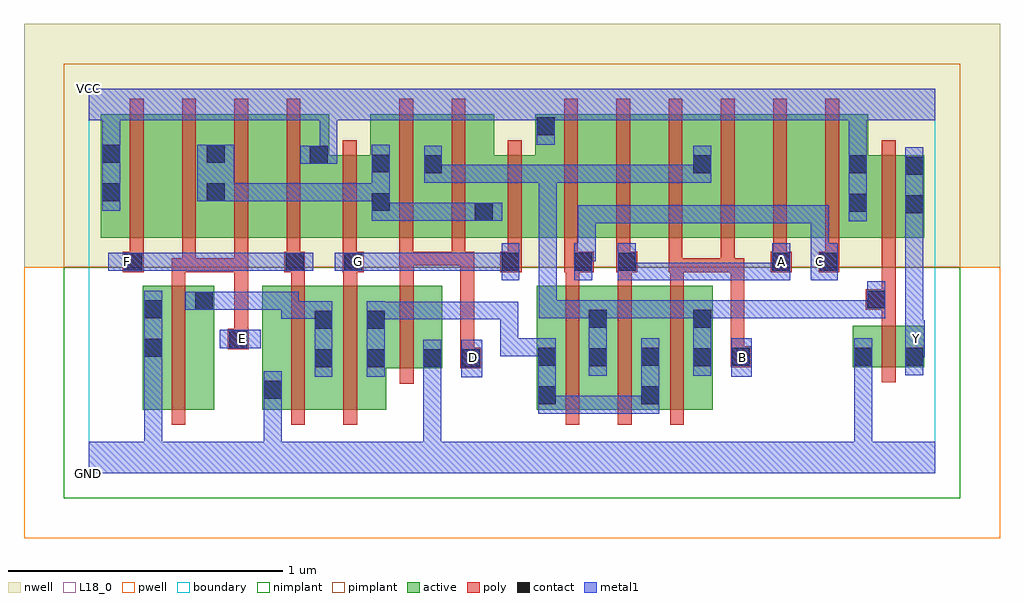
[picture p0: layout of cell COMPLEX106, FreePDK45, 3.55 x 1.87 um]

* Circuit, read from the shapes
.subckt COMPLEX106 A B C D E F G GND VCC Y
M1 n1 E GND VSUBS nfet w=0.45u l=0.05u
M2 n1 F GND VSUBS nfet w=0.45u l=0.05u
M3 n2 G n1 VSUBS nfet w=0.45u l=0.05u
M4 GND D n2 VSUBS nfet w=0.3u l=0.05u
M5 n3 C n2 VSUBS nfet w=0.45u l=0.05u
M6 n2 A n3 VSUBS nfet w=0.45u l=0.05u
M7 n3 B n2 VSUBS nfet w=0.45u l=0.05u
M8 Y n3 GND VSUBS nfet w=0.15u l=0.05u
M9 n4 F VCC n5 pfet w=0.45u l=0.05u
M10 n6 E n4 n5 pfet w=0.45u l=0.05u
M11 n7 E n6 n5 pfet w=0.45u l=0.05u
M12 VCC F n7 n5 pfet w=0.45u l=0.05u
M13 n6 G VCC n5 pfet w=0.3u l=0.05u m=2
M14 n3 D n6 n5 pfet w=0.45u l=0.05u m=2
M15 n8 C VCC n5 pfet w=0.45u l=0.05u
M16 n9 A n8 n5 pfet w=0.45u l=0.05u
M17 n3 B n9 n5 pfet w=0.45u l=0.05u
M18 n10 B n3 n5 pfet w=0.45u l=0.05u
M19 n11 A n10 n5 pfet w=0.45u l=0.05u
M20 VCC C n11 n5 pfet w=0.45u l=0.05u
M21 Y n3 VCC n5 pfet w=0.3u l=0.05u
.ends

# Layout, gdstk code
import gdstk
lib = gdstk.Library(unit=1e-6, precision=1e-09)
def R(c, l, rs):  # rectangles x0, y0, x1, y1
    for r in rs: c.add(gdstk.rectangle(r[:2], r[2:], *l))
def A(c, l, x, y, w, h, nx, ny, dx, dy):  # array of equal rectangles
    R(c, l, [(x+i*dx, y+j*dy, x+i*dx+w, y+j*dy+h) for i in range(nx) for j in range(ny)])
active = (1, 0)
pwell = (2, 0)
nwell = (3, 0)
nimplant = (4, 0)
pimplant = (5, 0)
poly = (9, 0)
contact = (10, 0)
metal1 = (11, 0)
L18_0 = (18, 0)
boundary = (235, 0)

complex106 = lib.new_cell('COMPLEX106')
R(complex106, active, [(0.197,0.232,0.457,0.682), (0.632,0.232,0.707,0.682), (0.632,0.232,0.892,0.682), (0.817,0.232,1.082,0.682), (1.007,0.232,1.082,0.597), (1.63,0.232,1.705,0.682), (1.63,0.232,1.89,0.682), (1.815,0.232,2.08,0.682), (2.005,0.232,2.27,0.682), (2.005,0.232,2.08,0.542), (2.195,0.232,2.27,0.682), (0.197,0.245,0.272,0.682), (0.382,0.245,0.457,0.682), (0.817,0.245,0.892,0.635), (1.815,0.245,1.89,0.6), (1.007,0.382,1.287,0.682), (1.212,0.382,1.287,0.457), (2.78,0.387,2.855,0.537), (2.78,0.387,3.04,0.537), (2.965,0.387,3.04,0.537), (0.045,0.857,0.12,1.307), (0.045,0.857,0.27,1.307), (0.27,0.857,0.5,1.307), (0.425,0.857,0.65,1.307), (0.425,0.857,0.5,1.2), (0.65,0.857,0.875,1.307), (0.8,0.857,1.1,1.157), (1.025,0.857,1.29,1.307), (1.215,0.857,1.475,1.307), (1.215,0.857,1.29,1.2), (1.4,0.857,1.7,1.157), (1.625,0.857,1.85,1.307), (1.85,0.857,2.04,1.307), (2.04,0.857,2.27,1.307), (2.195,0.857,2.42,1.307), (2.195,0.857,2.27,1.2), (2.42,0.857,2.61,1.307), (2.61,0.857,2.835,1.307), (2.76,0.857,2.835,1.307), (2.76,0.857,3.04,1.157), (2.965,0.857,3.04,1.157), (1.4,0.915,1.475,1.07), (1.025,0.95,1.1,1.2), (1.625,0.995,1.7,1.3), (0.8,1.007,0.875,1.307)])
R(complex106, pwell, [(-0.235,-0.235,3.315,0.75)])
R(complex106, nwell, [(-0.235,0.75,3.315,1.635)])
R(complex106, nimplant, [(-0.09,-0.09,3.17,0.75)])
R(complex106, pimplant, [(-0.09,0.75,3.17,1.49)])
A(complex106, poly, 1.735, 0.177, 0.05, 0.56, 3, 1, 0.19, 0)
A(complex106, poly, 1.735, 0.687, 0.05, 0.095, 3, 1, 0.19, 0)
A(complex106, poly, 0.72, 0.757, 0.05, 0.095, 3, 1, 0.205, 0)
A(complex106, poly, 1.32, 0.757, 0.05, 0.095, 3, 1, 0.205, 0)
A(complex106, poly, 0.15, 0.802, 0.05, 0.56, 4, 1, 0.19, 0)
A(complex106, poly, 1.73, 0.802, 0.05, 0.56, 6, 1, 0.19, 0)
R(complex106, poly, [(0.302,0.177,0.352,0.737), (0.737,0.177,0.787,0.737), (0.927,0.177,0.977,0.737), (1.132,0.327,1.182,0.737), (2.885,0.332,2.935,0.592), (1.352,0.382,1.427,0.457), (2.335,0.387,2.41,0.462), (1.352,0.407,1.402,0.457), (1.352,0.407,1.402,0.457), (1.352,0.407,1.402,0.807), (2.335,0.412,2.385,0.782), (0.507,0.452,0.582,0.527), (0.53,0.477,0.58,0.527), (0.53,0.477,0.58,0.527), (0.53,0.477,0.58,0.782), (2.885,0.542,2.935,0.645), (2.827,0.595,2.935,0.67), (2.885,0.62,2.935,0.852), (0.302,0.687,0.352,0.782), (0.737,0.687,0.787,0.782), (0.927,0.687,0.977,0.782), (1.132,0.687,1.182,0.807), (0.125,0.732,0.2,0.807), (0.302,0.732,0.39,0.782), (0.34,0.732,0.39,0.852), (0.34,0.732,0.39,0.782), (0.34,0.732,0.39,0.782), (0.34,0.732,0.58,0.782), (0.53,0.732,0.58,0.852), (0.53,0.732,0.58,0.782), (0.712,0.732,0.787,0.807), (0.925,0.732,1,0.807), (1.497,0.732,1.575,0.807), (1.73,0.732,1.837,0.807), (1.92,0.732,1.995,0.807), (2.11,0.732,2.16,0.852), (2.11,0.732,2.165,0.782), (2.115,0.732,2.165,0.782), (2.115,0.732,2.165,0.782), (2.115,0.732,2.35,0.782), (2.3,0.732,2.35,0.852), (2.3,0.732,2.35,0.782), (2.3,0.732,2.35,0.782), (2.3,0.732,2.385,0.782), (2.482,0.732,2.557,0.807), (2.655,0.732,2.73,0.807), (0.15,0.757,0.2,0.852), (1.13,0.757,1.182,0.807), (1.132,0.757,1.37,0.807), (1.32,0.757,1.37,0.807), (1.32,0.757,1.37,0.807), (1.32,0.757,1.402,0.807), (1.92,0.757,1.97,0.852), (2.49,0.757,2.54,0.852), (2.68,0.757,2.73,0.852), (0.925,0.802,0.975,1.212), (1.13,0.802,1.18,1.362), (1.32,0.802,1.37,1.362), (1.525,0.802,1.575,1.212), (2.885,0.802,2.935,1.212)])
R(complex106, contact, [(1.635,0.252,1.7,0.317), (2.01,0.252,2.075,0.317), (0.637,0.272,0.702,0.337), (0.822,0.387,0.887,0.452), (1.012,0.387,1.077,0.452), (1.217,0.387,1.282,0.452), (1.357,0.387,1.422,0.452), (1.82,0.39,1.885,0.455), (2.2,0.39,2.265,0.455), (1.635,0.392,1.7,0.457), (2.01,0.392,2.075,0.457), (2.34,0.392,2.405,0.457), (2.785,0.392,2.85,0.457), (2.97,0.392,3.035,0.457), (0.202,0.425,0.267,0.49), (0.512,0.457,0.577,0.522), (0.822,0.527,0.887,0.592), (1.012,0.527,1.077,0.592), (1.82,0.53,1.885,0.595), (2.2,0.53,2.265,0.595), (0.202,0.565,0.267,0.63), (0.387,0.595,0.452,0.66), (2.832,0.6,2.897,0.665), (0.13,0.737,0.195,0.802), (0.717,0.737,0.782,0.802), (0.93,0.737,0.995,0.802), (1.502,0.737,1.567,0.802), (1.767,0.737,1.832,0.802), (1.925,0.737,1.99,0.802), (2.487,0.737,2.552,0.802), (2.66,0.737,2.725,0.802), (1.405,0.92,1.47,0.985), (2.97,0.947,3.035,1.012), (2.765,0.952,2.83,1.017), (1.03,0.955,1.095,1.02), (0.05,0.99,0.115,1.055), (0.43,0.99,0.495,1.055), (2.97,1.087,3.035,1.152), (1.22,1.092,1.285,1.157), (2.2,1.092,2.265,1.157), (2.765,1.092,2.83,1.157), (1.03,1.095,1.095,1.16), (0.805,1.127,0.87,1.192), (0.05,1.13,0.115,1.195), (0.43,1.13,0.495,1.195), (1.63,1.23,1.695,1.295)])
R(complex106, metal1, [(0,0,3.08,0.115), (0.202,0.05,0.267,0.115), (0.202,0.05,0.267,0.115), (0.202,0.05,0.267,0.455), (0.637,0.05,0.702,0.115), (0.637,0.05,0.702,0.115), (0.637,0.05,0.702,0.302), (1.217,0.05,1.282,0.115), (1.217,0.05,1.282,0.115), (1.217,0.05,1.282,0.115), (1.217,0.05,1.282,0.115), (1.217,0.05,1.282,0.417), (2.785,0.05,2.85,0.115), (2.785,0.05,2.85,0.115), (2.785,0.05,2.85,0.115), (2.785,0.05,2.85,0.115), (2.785,0.05,2.85,0.115), (2.785,0.05,2.85,0.115), (2.785,0.05,2.85,0.422), (1.635,0.217,1.7,0.492), (1.635,0.217,1.707,0.282), (1.642,0.217,1.707,0.282), (1.642,0.217,1.937,0.282), (1.872,0.217,1.937,0.282), (1.872,0.217,1.99,0.282), (1.925,0.217,1.99,0.282), (1.925,0.217,2.075,0.282), (2.01,0.217,2.075,0.492), (0.637,0.237,0.702,0.372), (1.355,0.35,1.432,0.487), (0.822,0.352,0.887,0.627), (1.012,0.352,1.077,0.627), (1.217,0.352,1.282,0.487), (2.337,0.352,2.412,0.492), (1.82,0.355,1.885,0.63), (2.2,0.355,2.265,0.63), (2.785,0.357,2.85,0.492), (2.97,0.357,3.035,0.492), (0.202,0.39,0.267,0.665), (2.97,0.422,3.035,0.487), (2.97,0.422,3.042,0.557), (1.497,0.427,1.562,0.492), (1.497,0.427,1.57,0.492), (1.497,0.427,1.562,0.625), (1.505,0.427,1.57,0.492), (1.505,0.427,1.7,0.492), (0.477,0.455,0.627,0.522), (2.97,0.492,3.035,0.977), (1.012,0.56,1.282,0.625), (1.217,0.56,1.282,0.625), (1.217,0.56,1.282,0.625), (1.217,0.56,1.282,0.625), (1.217,0.56,1.43,0.625), (1.365,0.56,1.43,0.625), (1.365,0.56,1.562,0.625), (1.497,0.56,1.562,0.625), (0.7,0.562,0.887,0.627), (0.7,0.562,0.765,0.66), (1.637,0.565,1.707,0.63), (1.637,0.565,1.702,1.122), (1.642,0.565,1.707,0.63), (1.642,0.565,1.707,0.63), (1.642,0.565,1.885,0.63), (1.82,0.565,1.982,0.63), (1.917,0.565,1.982,0.63), (1.917,0.565,2.127,0.63), (2.062,0.565,2.127,0.63), (2.062,0.565,2.127,0.63), (2.062,0.565,2.127,0.63), (2.062,0.565,2.265,0.63), (2.2,0.565,2.265,0.63), (2.2,0.565,2.265,0.63), (2.2,0.565,2.552,0.63), (2.487,0.565,2.552,0.63), (2.487,0.565,2.552,0.63), (2.487,0.565,2.552,0.63), (2.487,0.565,2.69,0.63), (2.625,0.565,2.69,0.63), (2.625,0.565,2.69,0.63), (2.625,0.565,2.69,0.63), (2.625,0.565,2.897,0.63), (2.832,0.565,2.897,0.63), (2.832,0.565,2.897,0.63), (2.832,0.565,2.897,0.63), (2.832,0.565,2.897,0.63), (2.832,0.565,2.897,0.7), (0.352,0.595,0.487,0.66), (0.422,0.595,0.56,0.66), (0.495,0.595,0.56,0.66), (0.495,0.595,0.697,0.66), (0.632,0.595,0.697,0.66), (0.632,0.595,0.765,0.66), (1.502,0.702,1.567,0.837), (1.767,0.702,1.832,0.837), (1.925,0.702,1.99,0.837), (1.925,0.702,2.127,0.767), (2.062,0.702,2.127,0.767), (2.062,0.702,2.127,0.767), (2.062,0.702,2.127,0.767), (2.062,0.702,2.415,0.767), (2.35,0.702,2.415,0.767), (2.35,0.702,2.415,0.767), (2.35,0.702,2.415,0.767), (2.35,0.702,2.552,0.767), (2.487,0.702,2.552,0.767), (2.487,0.702,2.552,0.767), (2.487,0.702,2.552,0.837), (2.627,0.702,2.725,0.837), (0.072,0.737,0.23,0.802), (0.165,0.737,0.23,0.802), (0.165,0.737,0.23,0.802), (0.165,0.737,0.367,0.802), (0.302,0.737,0.367,0.802), (0.302,0.737,0.505,0.802), (0.44,0.737,0.505,0.802), (0.44,0.737,0.505,0.802), (0.44,0.737,0.505,0.802), (0.44,0.737,0.697,0.802), (0.632,0.737,0.697,0.802), (0.632,0.737,0.747,0.802), (0.682,0.737,0.817,0.802), (0.895,0.737,1.047,0.802), (0.982,0.737,1.047,0.802), (0.982,0.737,1.047,0.802), (0.982,0.737,1.185,0.802), (1.12,0.737,1.185,0.802), (1.12,0.737,1.232,0.802), (1.167,0.737,1.232,0.802), (1.167,0.737,1.425,0.802), (1.36,0.737,1.425,0.802), (1.36,0.737,1.557,0.802), (1.492,0.737,1.557,0.802), (1.492,0.737,1.567,0.802), (1.767,0.772,1.845,0.837), (1.78,0.772,1.845,0.837), (1.78,0.772,1.845,0.975), (2.627,0.772,2.692,0.837), (2.627,0.772,2.692,0.837), (2.627,0.772,2.692,0.975), (1.78,0.91,1.845,0.975), (1.78,0.91,1.99,0.975), (1.925,0.91,1.99,0.975), (1.925,0.91,2.097,0.975), (2.032,0.91,2.097,0.975), (2.032,0.91,2.127,0.975), (2.062,0.91,2.127,0.975), (2.062,0.91,2.415,0.975), (2.35,0.91,2.415,0.975), (2.35,0.91,2.415,0.975), (2.35,0.91,2.415,0.975), (2.35,0.91,2.552,0.975), (2.487,0.91,2.552,0.975), (2.487,0.91,2.552,0.975), (2.487,0.91,2.552,0.975), (2.487,0.91,2.692,0.975), (2.627,0.91,2.692,0.975), (2.97,0.912,3.035,1.187), (2.765,0.917,2.83,1.192), (1.03,0.92,1.095,1.195), (1.03,0.92,1.232,0.985), (1.167,0.92,1.232,0.985), (1.167,0.92,1.232,0.985), (1.167,0.92,1.232,0.985), (1.167,0.92,1.43,0.985), (1.365,0.92,1.43,0.985), (1.365,0.92,1.435,0.985), (1.37,0.92,1.505,0.985), (0.05,0.955,0.115,1.23), (0.395,0.99,0.53,1.195), (0.465,0.99,0.53,1.055), (0.465,0.99,0.53,1.055), (0.465,0.99,0.697,1.055), (0.632,0.99,0.697,1.055), (0.632,0.99,0.697,1.055), (0.632,0.99,0.697,1.055), (0.632,0.99,0.902,1.055), (0.837,0.99,0.902,1.055), (0.837,0.99,0.902,1.055), (0.837,0.99,0.902,1.055), (0.837,0.99,1.095,1.055), (1.22,1.057,1.285,1.192), (1.22,1.057,1.422,1.122), (1.357,1.057,1.422,1.122), (1.357,1.057,1.422,1.122), (1.357,1.057,1.422,1.122), (1.357,1.057,1.57,1.122), (1.505,1.057,1.57,1.122), (1.505,1.057,1.702,1.122), (1.637,1.057,1.702,1.122), (1.637,1.057,1.702,1.122), (1.637,1.057,1.702,1.122), (1.637,1.057,1.702,1.122), (1.637,1.057,1.707,1.122), (1.642,1.057,1.707,1.122), (1.642,1.057,1.707,1.122), (1.642,1.057,1.845,1.122), (1.78,1.057,1.845,1.122), (1.78,1.057,1.982,1.122), (1.917,1.057,1.982,1.122), (1.917,1.057,2.127,1.122), (2.062,1.057,2.127,1.122), (2.062,1.057,2.127,1.122), (2.062,1.057,2.127,1.122), (2.062,1.057,2.265,1.122), (2.2,1.057,2.265,1.192), (0.77,1.127,0.905,1.192), (0.84,1.127,0.905,1.35), (2.765,1.127,2.83,1.35), (0.05,1.165,0.115,1.35), (1.63,1.195,1.695,1.33), (1.63,1.265,1.695,1.35), (0,1.285,3.08,1.4)])
R(complex106, L18_0, [(0,0,3.08,0.115), (0.202,0.05,0.267,0.115), (0.202,0.05,0.267,0.115), (0.202,0.05,0.267,0.455), (0.637,0.05,0.702,0.115), (0.637,0.05,0.702,0.115), (0.637,0.05,0.702,0.302), (1.217,0.05,1.282,0.115), (1.217,0.05,1.282,0.115), (1.217,0.05,1.282,0.115), (1.217,0.05,1.282,0.115), (1.217,0.05,1.282,0.417), (2.785,0.05,2.85,0.115), (2.785,0.05,2.85,0.115), (2.785,0.05,2.85,0.115), (2.785,0.05,2.85,0.115), (2.785,0.05,2.85,0.115), (2.785,0.05,2.85,0.115), (2.785,0.05,2.85,0.422), (0.637,0.237,0.702,0.372), (1.355,0.35,1.432,0.487), (1.217,0.352,1.282,0.487), (2.337,0.352,2.412,0.492), (2.785,0.357,2.85,0.492), (2.97,0.357,3.035,0.492), (1.367,0.387,1.432,0.452), (2.347,0.387,2.412,0.452), (0.202,0.39,0.267,0.665), (2.97,0.422,3.035,0.487), (2.97,0.422,3.042,0.557), (0.477,0.455,0.627,0.522), (0.527,0.457,0.592,0.522), (2.977,0.457,3.042,0.522), (2.97,0.492,3.035,0.977), (1.502,0.702,1.567,0.837), (1.767,0.702,1.832,0.837), (1.925,0.702,2.127,0.767), (1.925,0.702,1.99,0.837), (2.062,0.702,2.127,0.767), (2.062,0.702,2.127,0.767), (2.062,0.702,2.127,0.767), (2.062,0.702,2.415,0.767), (2.35,0.702,2.415,0.767), (2.35,0.702,2.415,0.767), (2.35,0.702,2.415,0.767), (2.35,0.702,2.552,0.767), (2.487,0.702,2.552,0.767), (2.487,0.702,2.552,0.767), (2.487,0.702,2.552,0.837), (2.627,0.702,2.725,0.837), (0.072,0.737,0.23,0.802), (0.107,0.737,0.172,0.802), (0.165,0.737,0.23,0.802), (0.165,0.737,0.23,0.802), (0.165,0.737,0.367,0.802), (0.302,0.737,0.367,0.802), (0.302,0.737,0.505,0.802), (0.44,0.737,0.505,0.802), (0.44,0.737,0.505,0.802), (0.44,0.737,0.505,0.802), (0.44,0.737,0.697,0.802), (0.632,0.737,0.697,0.802), (0.632,0.737,0.747,0.802), (0.682,0.737,0.817,0.802), (0.895,0.737,1.047,0.802), (0.947,0.737,1.012,0.802), (0.982,0.737,1.047,0.802), (0.982,0.737,1.047,0.802), (0.982,0.737,1.185,0.802), (1.12,0.737,1.185,0.802), (1.12,0.737,1.232,0.802), (1.167,0.737,1.232,0.802), (1.167,0.737,1.425,0.802), (1.36,0.737,1.425,0.802), (1.36,0.737,1.557,0.802), (1.492,0.737,1.557,0.802), (1.492,0.737,1.567,0.802), (2.487,0.737,2.552,0.802), (2.627,0.737,2.692,0.802), (1.767,0.772,1.845,0.837), (1.78,0.772,1.845,0.837), (1.78,0.772,1.845,0.975), (2.627,0.772,2.692,0.837), (2.627,0.772,2.692,0.837), (2.627,0.772,2.692,0.975), (1.78,0.91,1.845,0.975), (1.78,0.91,1.99,0.975), (1.925,0.91,1.99,0.975), (1.925,0.91,2.097,0.975), (2.032,0.91,2.097,0.975), (2.032,0.91,2.127,0.975), (2.062,0.91,2.127,0.975), (2.062,0.91,2.415,0.975), (2.35,0.91,2.415,0.975), (2.35,0.91,2.415,0.975), (2.35,0.91,2.415,0.975), (2.35,0.91,2.552,0.975), (2.487,0.91,2.552,0.975), (2.487,0.91,2.552,0.975), (2.487,0.91,2.552,0.975), (2.487,0.91,2.692,0.975), (2.627,0.91,2.692,0.975), (2.97,0.912,3.035,1.187), (2.765,0.917,2.83,1.192), (0.05,0.955,0.115,1.23), (0.77,1.127,0.905,1.192), (0.84,1.127,0.905,1.35), (2.765,1.127,2.83,1.35), (0.05,1.165,0.115,1.35), (1.63,1.195,1.695,1.33), (1.63,1.265,1.695,1.35), (0,1.285,3.08,1.4)])
R(complex106, boundary, [(0,0,3.08,1.4)])
complex106.add(gdstk.Label('A', (2.52,0.77), layer=11, texttype=0))
complex106.add(gdstk.Label('B', (2.38,0.42), layer=11, texttype=0))
complex106.add(gdstk.Label('C', (2.66,0.77), layer=11, texttype=0))
complex106.add(gdstk.Label('D', (1.4,0.42), layer=11, texttype=0))
complex106.add(gdstk.Label('E', (0.56,0.49), layer=11, texttype=0))
complex106.add(gdstk.Label('F', (0.14,0.77), layer=11, texttype=0))
complex106.add(gdstk.Label('G', (0.98,0.77), layer=11, texttype=0))
complex106.add(gdstk.Label('Y', (3.01,0.49), layer=11, texttype=0))
complex106.add(gdstk.Label('VCC', (0,1.4), layer=11, texttype=0))
complex106.add(gdstk.Label('GND', (0,0), layer=11, texttype=0))

lib.write_gds('COMPLEX106.gds')
